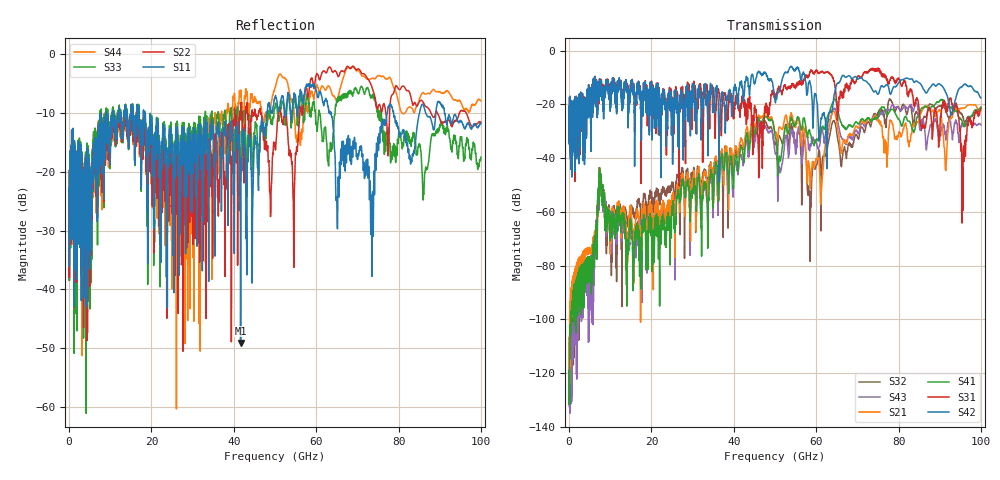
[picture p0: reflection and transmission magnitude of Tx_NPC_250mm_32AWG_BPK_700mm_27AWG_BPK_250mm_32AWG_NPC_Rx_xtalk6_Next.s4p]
! Info: Touchstone file created by Circ.  Input file=Tx_NPC_250mm_32AWG_BPK_700mm_27AWG_BPK_250mm_32AWG_NPC_Rx.circ
# Hz S RI R 50
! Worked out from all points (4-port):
!   10000 points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, 10 MHz to 100 GHz, reference 50 ohm
!   strongest paths, dB at 10 MHz, 25.01 GHz, 50.01 GHz, 75.01 GHz, 100 GHz:
!     S42: -28.4, -18.5, -18.4, -16.3, -17.6
!     S31: -28.4, -17.3, -16.7, -6.9, -21.5
!     S41: -119.1, -58.6, -31.8, -24.3, -21.2
!     S21: -119.7, -54.0, -30.6, -25.5, -22.4
!     S43: -132.4, -55.1, -38.1, -25.2, -27.7
!     S32: -121.5, -49.0, -34.6, -23.2, -21.0
!   lowest |S11| = -49.1 dB at 41.65 GHz (marker M1), VSWR 1.01, Z = 49.8 + j0.262 ohm
!   |S11| at or under -10 dB: 18.4 GHz to 47.99 GHz (29.59 GHz wide, 89.1 % of centre); 63.64 GHz to 77.28 GHz (13.65 GHz wide, 19.4 % of centre); 91.16 GHz to end of sweep (the widest 3 of 45)
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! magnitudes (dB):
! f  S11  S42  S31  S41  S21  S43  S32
! 10 MHz  -23.9  -28.4  -28.4  -119.1  -119.7  -132.4  -121.5
! 7.7 GHz  -13.1  -15.0  -14.0  -46.5  -46.7  -46.2  -46.1
! 17.22 GHz  -11.8  -15.5  -14.6  -75.6  -68.7  -63.4  -57.4
! 41.65 GHz  -49.1  -12.6  -20.6  -36.2  -32.8  -38.7  -35.0
! 58.34 GHz  -5.2  -11.4  -8.9  -29.4  -43.3  -36.4  -53.2
! 64.19 GHz  -12.7  -18.6  -10.8  -18.8  -22.5  -22.2  -26.3
! 100 GHz  -11.7  -17.6  -21.5  -21.2  -22.4  -27.7  -21.0
